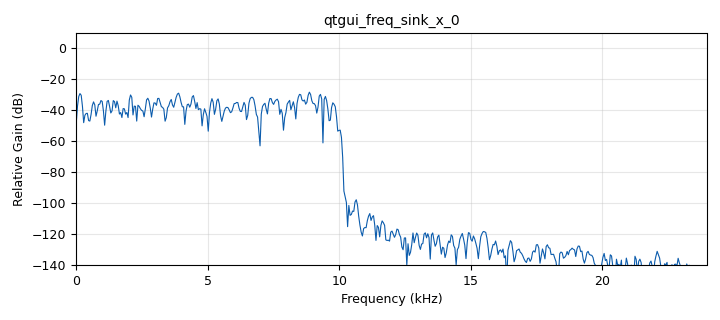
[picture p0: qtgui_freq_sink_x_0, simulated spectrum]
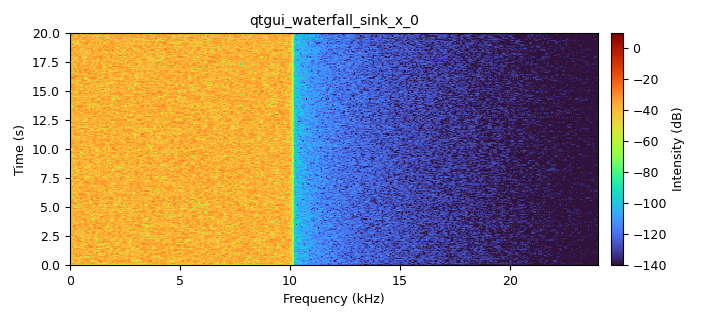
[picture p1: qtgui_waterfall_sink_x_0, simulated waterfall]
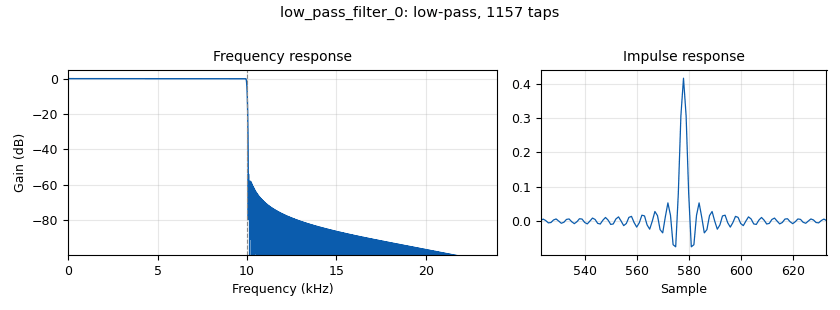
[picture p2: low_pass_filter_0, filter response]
options:
  parameters:
    author: saad
    generate_options: qt_gui
    id: filters
    output_language: python
    title: Not titled yet
  states: {}

blocks:
- name: samp_rate
  id: variable
  parameters:
    value: '48000'
  states: {}
- name: analog_noise_source_x_0
  id: analog_noise_source_x
  parameters:
    amp: '1'
    noise_type: analog.GR_GAUSSIAN
    seed: '0'
    type: float
  states: {}
- name: audio_sink_0
  id: audio_sink
  parameters:
    samp_rate: samp_rate
  states: {}
- name: low_pass_filter_0
  id: low_pass_filter
  parameters:
    cutoff_freq: '10000'
    decim: '1'
    gain: '1'
    samp_rate: samp_rate
    type: fir_filter_fff
    width: '100'
    win: firdes.WIN_HAMMING
  states: {}
- name: qtgui_freq_sink_x_0
  id: qtgui_freq_sink_x
  parameters:
    bw: samp_rate
    fc: '0'
    fftsize: '1024'
    freqhalf: 'False'
    type: float
    wintype: firdes.WIN_BLACKMAN_hARRIS
  states: {}
- name: qtgui_waterfall_sink_x_0
  id: qtgui_waterfall_sink_x
  parameters:
    bw: samp_rate
    fc: '0'
    fftsize: '1024'
    freqhalf: 'False'
    type: float
    wintype: firdes.WIN_BLACKMAN_hARRIS
  states: {}

connections:
- [analog_noise_source_x_0, '0', low_pass_filter_0, '0']
- [low_pass_filter_0, '0', audio_sink_0, '0']
- [low_pass_filter_0, '0', qtgui_freq_sink_x_0, '0']
- [low_pass_filter_0, '0', qtgui_waterfall_sink_x_0, '0']

metadata:
  file_format: 1
